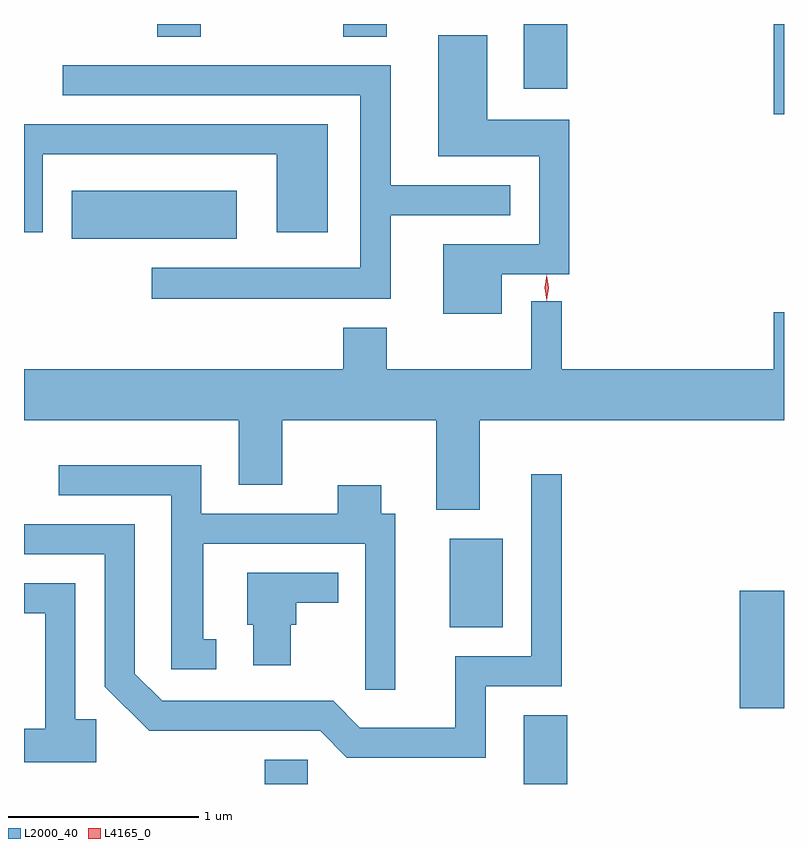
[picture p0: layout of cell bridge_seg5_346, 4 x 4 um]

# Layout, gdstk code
import gdstk
lib = gdstk.Library(unit=1e-6, precision=1e-09)
def R(c, l, rs):  # rectangles x0, y0, x1, y1
    for r in rs: c.add(gdstk.rectangle(r[:2], r[2:], *l))
def P(c, l, *ps):  # polygons
    for p in ps: c.add(gdstk.Polygon(p, *l))
L2000_40 = (2000, 40)
L4165_0 = (4165, 0)

bridge_seg5_346 = lib.new_cell('bridge_seg5_346')
R(bridge_seg5_346, L2000_40, [(811.796,1421.582,812.024,1421.709), (813.161,1421.582,813.389,1421.944), (814.296,1421.981,814.53,1422.599), (812.771,1422.406,813.049,1422.874), (810.781,1424.451,811.649,1424.704), (814.476,1425.106,814.53,1425.582), (813.161,1425.241,813.389,1425.582), (811.231,1425.516,811.459,1425.582), (812.211,1425.516,812.439,1425.582)])
P(bridge_seg5_346, L2000_40, [(813.044,1424.266),(813.399,1424.266),(813.399,1425.079),(812.969,1425.079),(812.969,1425.524),(812.711,1425.524),(812.711,1424.886),(813.241,1424.886),(813.241,1424.424),(812.736,1424.424),(812.736,1424.056),(813.044,1424.056)],
  [(812.459,1424.576),(813.088,1424.576),(813.088,1424.734),(812.459,1424.734),(812.459,1425.364),(810.733,1425.364),(810.733,1425.206),(812.301,1425.206),(812.301,1424.299),(811.203,1424.299),(811.203,1424.136),(812.459,1424.136)],
  [(810.629,1424.896),(811.861,1424.896),(811.861,1424.486),(812.129,1424.486),(812.129,1425.054),(810.53,1425.054),(810.53,1424.486),(810.629,1424.486)],
  [(812.929,1423.496),(814.53,1423.496),(814.53,1424.064),(814.476,1424.064),(814.476,1423.764),(813.359,1423.764),(813.359,1424.123),(813.201,1424.123),(813.201,1423.764),(812.439,1423.764),(812.439,1423.984),(812.211,1423.984),(812.211,1423.764),(810.53,1423.764),(810.53,1423.496),(811.661,1423.496),(811.661,1423.156),(811.889,1423.156),(811.889,1423.496),(812.701,1423.496),(812.701,1423.026),(812.929,1423.026)],
  [(812.484,1423.004),(812.409,1423.004),(812.409,1423.154),(812.181,1423.154),(812.181,1423.004),(811.464,1423.004),(811.464,1423.259),(810.713,1423.259),(810.713,1423.101),(811.306,1423.101),(811.306,1422.186),(811.543,1422.186),(811.543,1422.344),(811.474,1422.344),(811.474,1422.846),(812.326,1422.846),(812.326,1422.078),(812.484,1422.078)],
  [(812.959,1422.096),(813.359,1422.096),(813.359,1423.213),(813.201,1423.213),(813.201,1422.254),(812.801,1422.254),(812.801,1421.879),(812.297,1421.879),(812.157,1422.019),(811.257,1422.019),(811.114,1422.162),(811.114,1422.949),(810.53,1422.949),(810.53,1422.791),(810.956,1422.791),(810.956,1422.094),(811.189,1421.861),(812.089,1421.861),(812.229,1421.721),(812.959,1421.721)],
  [(811.934,1422.421),(811.964,1422.421),(811.964,1422.536),(812.183,1422.536),(812.183,1422.694),(811.706,1422.694),(811.706,1422.421),(811.736,1422.421),(811.736,1422.206),(811.934,1422.206)],
  [(810.909,1421.924),(810.799,1421.924),(810.799,1422.639),(810.53,1422.639),(810.53,1422.481),(810.641,1422.481),(810.641,1421.874),(810.53,1421.874),(810.53,1421.696),(810.909,1421.696)])
P(bridge_seg5_346, L4165_0, [(813.28,1424.125),(813.28,1424.126),(813.27,1424.194),(813.28,1424.262),(813.28,1424.263),(813.281,1424.262),(813.29,1424.194),(813.281,1424.126)],
  [(813.281,1424.128),(813.28,1424.129),(813.271,1424.194),(813.28,1424.26),(813.281,1424.26),(813.281,1424.26),(813.291,1424.194),(813.281,1424.129)])

lib.write_gds('bridge_seg5_346.gds')
